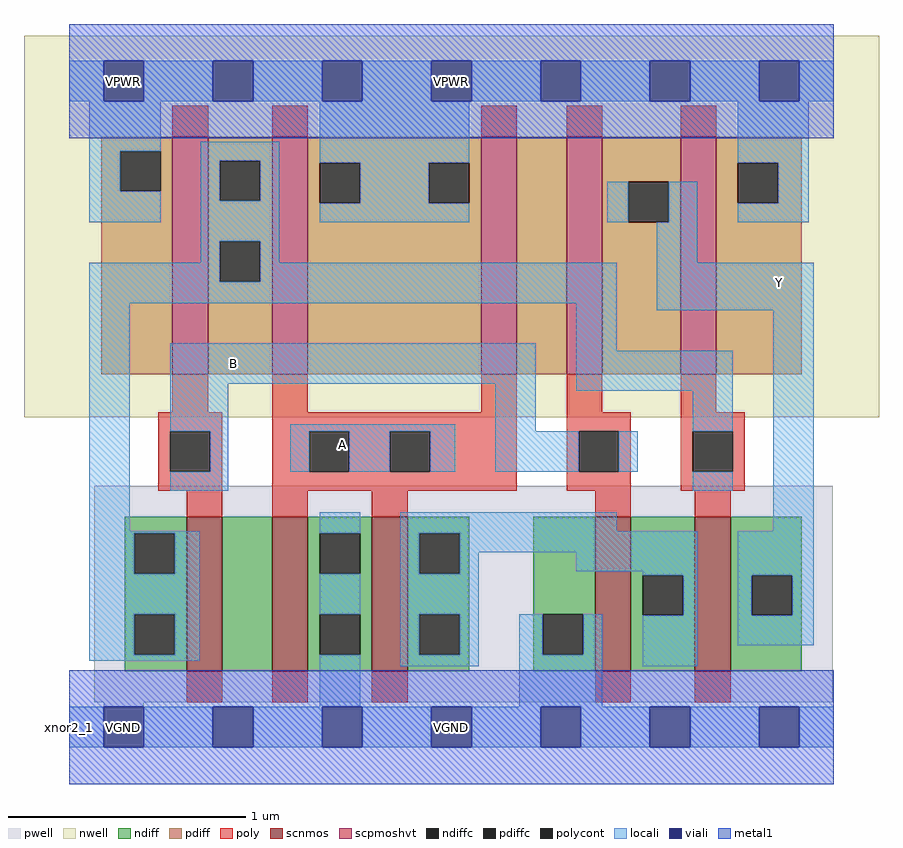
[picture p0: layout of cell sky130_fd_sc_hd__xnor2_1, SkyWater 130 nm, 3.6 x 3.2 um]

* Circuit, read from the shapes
.subckt sky130_fd_sc_hd__xnor2_1 A B VGND VNB VPB VPWR Y
XM1 n1 B n2 VNB sky130_fd_pr__nfet_01v8 w=0.65 l=0.15
XM2 VGND A n1 VNB sky130_fd_pr__nfet_01v8 w=0.65 l=0.15
XM3 n3 A VGND VNB sky130_fd_pr__nfet_01v8 w=0.65 l=0.15
XM4 n3 B VGND VNB sky130_fd_pr__nfet_01v8 w=0.65 l=0.15
XM5 Y n2 n3 VNB sky130_fd_pr__nfet_01v8 w=0.65 l=0.15
XM6 n2 B VPWR VPB sky130_fd_pr__pfet_01v8_hvt w=1 l=0.15
XM7 VPWR A n2 VPB sky130_fd_pr__pfet_01v8_hvt w=1 l=0.15
XM8 n4 A VPWR VPB sky130_fd_pr__pfet_01v8_hvt w=1 l=0.15
XM9 Y B n4 VPB sky130_fd_pr__pfet_01v8_hvt w=1 l=0.15
XM10 VPWR n2 Y VPB sky130_fd_pr__pfet_01v8_hvt w=1 l=0.15
.ends

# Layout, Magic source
magic
tech sky130B
magscale 1 2
<< nwell >>
rect -38 261 682 582
<< pwell >>
rect 21 21 643 203
rect 29 -17 63 21
<< scnmos >>
rect 99 47 129 177
rect 171 47 201 177
rect 255 47 285 177
rect 443 47 473 177
rect 527 47 557 177
<< scpmoshvt >>
rect 87 297 117 497
rect 171 297 201 497
rect 347 297 377 497
rect 419 297 449 497
rect 515 297 545 497
<< ndiff >>
rect 47 163 99 177
rect 47 129 55 163
rect 89 129 99 163
rect 47 95 99 129
rect 47 61 55 95
rect 89 61 99 95
rect 47 47 99 61
rect 129 47 171 177
rect 201 163 255 177
rect 201 129 211 163
rect 245 129 255 163
rect 201 95 255 129
rect 201 61 211 95
rect 245 61 255 95
rect 201 47 255 61
rect 285 163 337 177
rect 285 129 295 163
rect 329 129 337 163
rect 285 95 337 129
rect 285 61 295 95
rect 329 61 337 95
rect 285 47 337 61
rect 391 95 443 177
rect 391 61 399 95
rect 433 61 443 95
rect 391 47 443 61
rect 473 128 527 177
rect 473 94 483 128
rect 517 94 527 128
rect 473 47 527 94
rect 557 128 617 177
rect 557 94 575 128
rect 609 94 617 128
rect 557 47 617 94
<< pdiff >>
rect 27 485 87 497
rect 27 451 43 485
rect 77 451 87 485
rect 27 297 87 451
rect 117 477 171 497
rect 117 443 127 477
rect 161 443 171 477
rect 117 409 171 443
rect 117 375 127 409
rect 161 375 171 409
rect 117 297 171 375
rect 201 475 347 497
rect 201 441 211 475
rect 245 441 303 475
rect 337 441 347 475
rect 201 297 347 441
rect 377 297 419 497
rect 449 459 515 497
rect 449 425 471 459
rect 505 425 515 459
rect 449 297 515 425
rect 545 475 617 497
rect 545 441 563 475
rect 597 441 617 475
rect 545 297 617 441
<< ndiffc >>
rect 55 129 89 163
rect 55 61 89 95
rect 211 129 245 163
rect 211 61 245 95
rect 295 129 329 163
rect 295 61 329 95
rect 399 61 433 95
rect 483 94 517 128
rect 575 94 609 128
<< pdiffc >>
rect 43 451 77 485
rect 127 443 161 477
rect 127 375 161 409
rect 211 441 245 475
rect 303 441 337 475
rect 471 425 505 459
rect 563 441 597 475
<< poly >>
rect 87 497 117 523
rect 171 497 201 523
rect 347 497 377 523
rect 419 497 449 523
rect 515 497 545 523
rect 87 265 117 297
rect 171 265 201 297
rect 347 265 377 297
rect 75 249 129 265
rect 75 215 85 249
rect 119 215 129 249
rect 75 199 129 215
rect 99 177 129 199
rect 171 249 377 265
rect 171 215 202 249
rect 236 215 270 249
rect 304 215 377 249
rect 171 199 377 215
rect 419 265 449 297
rect 515 265 545 297
rect 419 249 473 265
rect 419 215 429 249
rect 463 215 473 249
rect 419 199 473 215
rect 515 249 569 265
rect 515 215 525 249
rect 559 215 569 249
rect 515 199 569 215
rect 171 177 201 199
rect 255 177 285 199
rect 443 177 473 199
rect 527 177 557 199
rect 99 21 129 47
rect 171 21 201 47
rect 255 21 285 47
rect 443 21 473 47
rect 527 21 557 47
<< polycont >>
rect 85 215 119 249
rect 202 215 236 249
rect 270 215 304 249
rect 429 215 463 249
rect 525 215 559 249
<< locali >>
rect 0 527 29 561
rect 63 527 121 561
rect 155 527 213 561
rect 247 527 305 561
rect 339 527 397 561
rect 431 527 489 561
rect 523 527 581 561
rect 615 527 644 561
rect 17 485 77 527
rect 17 451 43 485
rect 17 425 77 451
rect 111 477 177 493
rect 111 443 127 477
rect 161 443 177 477
rect 111 409 177 443
rect 211 475 337 527
rect 245 441 303 475
rect 563 475 623 527
rect 211 425 337 441
rect 453 425 471 459
rect 505 425 529 459
rect 597 441 623 475
rect 563 425 623 441
rect 111 391 127 409
rect 17 375 127 391
rect 161 391 177 409
rect 495 391 529 425
rect 161 375 461 391
rect 17 357 461 375
rect 17 165 51 357
rect 85 289 393 323
rect 85 249 134 289
rect 119 215 134 249
rect 186 249 325 255
rect 186 215 202 249
rect 236 215 270 249
rect 304 215 325 249
rect 359 249 393 289
rect 427 317 461 357
rect 495 351 627 391
rect 427 283 559 317
rect 525 249 559 283
rect 359 215 429 249
rect 463 215 479 249
rect 85 199 134 215
rect 525 199 559 215
rect 17 163 110 165
rect 17 129 55 163
rect 89 129 110 163
rect 17 95 110 129
rect 17 61 55 95
rect 89 61 110 95
rect 17 56 110 61
rect 211 163 245 181
rect 211 95 245 129
rect 211 17 245 61
rect 279 165 461 181
rect 593 165 627 351
rect 279 163 529 165
rect 279 129 295 163
rect 329 147 529 163
rect 329 129 345 147
rect 427 131 529 147
rect 279 95 345 129
rect 483 128 529 131
rect 279 61 295 95
rect 329 61 345 95
rect 279 51 345 61
rect 379 61 399 95
rect 433 61 449 95
rect 379 17 449 61
rect 517 94 529 128
rect 483 51 529 94
rect 563 128 627 165
rect 563 94 575 128
rect 609 94 627 128
rect 563 69 627 94
rect 0 -17 29 17
rect 63 -17 121 17
rect 155 -17 213 17
rect 247 -17 305 17
rect 339 -17 397 17
rect 431 -17 489 17
rect 523 -17 581 17
rect 615 -17 644 17
<< viali >>
rect 29 527 63 561
rect 121 527 155 561
rect 213 527 247 561
rect 305 527 339 561
rect 397 527 431 561
rect 489 527 523 561
rect 581 527 615 561
rect 29 -17 63 17
rect 121 -17 155 17
rect 213 -17 247 17
rect 305 -17 339 17
rect 397 -17 431 17
rect 489 -17 523 17
rect 581 -17 615 17
<< metal1 >>
rect 0 561 644 592
rect 0 527 29 561
rect 63 527 121 561
rect 155 527 213 561
rect 247 527 305 561
rect 339 527 397 561
rect 431 527 489 561
rect 523 527 581 561
rect 615 527 644 561
rect 0 496 644 527
rect 0 17 644 48
rect 0 -17 29 17
rect 63 -17 121 17
rect 155 -17 213 17
rect 247 -17 305 17
rect 339 -17 397 17
rect 431 -17 489 17
rect 523 -17 581 17
rect 615 -17 644 17
rect 0 -48 644 -17
<< labels >>
flabel metal1 s 29 -17 63 17 0 FreeSans 200 0 0 0 VGND
port 3 nsew ground bidirectional abutment
flabel metal1 s 29 527 63 561 0 FreeSans 200 0 0 0 VPWR
port 6 nsew power bidirectional abutment
flabel locali s 121 289 155 323 0 FreeSans 200 0 0 0 B
port 2 nsew signal input
flabel locali s 581 357 615 391 0 FreeSans 200 0 0 0 Y
port 7 nsew signal output
flabel locali s 213 221 247 255 0 FreeSans 200 0 0 0 A
port 1 nsew signal input
flabel nwell s 29 527 63 561 0 FreeSans 200 0 0 0 VPB
port 5 nsew power bidirectional
flabel pwell s 29 -17 63 17 0 FreeSans 200 0 0 0 VNB
port 4 nsew ground bidirectional
rlabel comment s 0 0 0 0 4 xnor2_1
rlabel metal1 s 0 -48 644 48 1 VGND
port 3 nsew ground bidirectional abutment
rlabel metal1 s 0 496 644 592 1 VPWR
port 6 nsew power bidirectional abutment
<< properties >>
string FIXED_BBOX 0 0 644 544
string GDS_END 632352
string GDS_FILE $PDKPATH/libs.ref/sky130_fd_sc_hd/gds/sky130_fd_sc_hd.gds
string GDS_START 627048
string LEFclass CORE
string LEFsite unithd
string LEFsymmetry X Y R90
string path 0.000 2.720 3.220 2.720 
<< end >>
